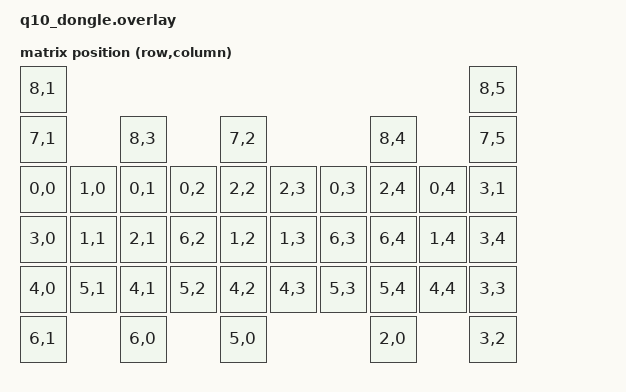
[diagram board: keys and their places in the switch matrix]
/*
 * Copyright (c) 2026
 * SPDX-License-Identifier: MIT
 */

#include "../../arm/zitaotech_q10/zitaotech_q10-layouts.dtsi"
#include <dt-bindings/zmk/matrix_transform.h>

/ {
    chosen {
        zmk,kscan = &kscan0;
        zmk,physical-layouts = &zitaotech_q10_layout;
        zephyr,display = &oled;
    };

    /* The Q10 peripheral supplies its matrix events to this split central. */
    kscan0: kscan {
        compatible = "zmk,kscan-mock";
        columns = <6>;
        rows = <9>;
        events = <0>;
    };

    default_transform: matrix_transform0: keymap_transform_0 {
        compatible = "zmk,matrix-transform";
        columns = <6>;
        rows = <9>;
        map = <
            RC(8,1)                                                                   RC(8,5)
            RC(7,1)          RC(8,3)             RC(7,2)             RC(8,4)          RC(7,5)
            RC(0,0)  RC(1,0) RC(0,1) RC(0,2) RC(2,2) RC(2,3) RC(0,3) RC(2,4) RC(0,4)  RC(3,1)
            RC(3,0)  RC(1,1) RC(2,1) RC(6,2) RC(1,2) RC(1,3) RC(6,3) RC(6,4) RC(1,4)  RC(3,4)
            RC(4,0)  RC(5,1) RC(4,1) RC(5,2) RC(4,2) RC(4,3) RC(5,3) RC(5,4) RC(4,4)  RC(3,3)
            RC(6,1)          RC(6,0)             RC(5,0)             RC(2,0)          RC(3,2)
        >;
    };
};

&xiao_i2c {
    status = "okay";

    oled: ssd1306@3c {
        compatible = "solomon,ssd1306fb";
        reg = <0x3c>;
        width = <128>;
        height = <64>;
        segment-offset = <0>;
        page-offset = <0>;
        display-offset = <0>;
        multiplex-ratio = <63>;
        segment-remap;
        com-invdir;
        inversion-on;
        prechargep = <0x22>;
    };
};
